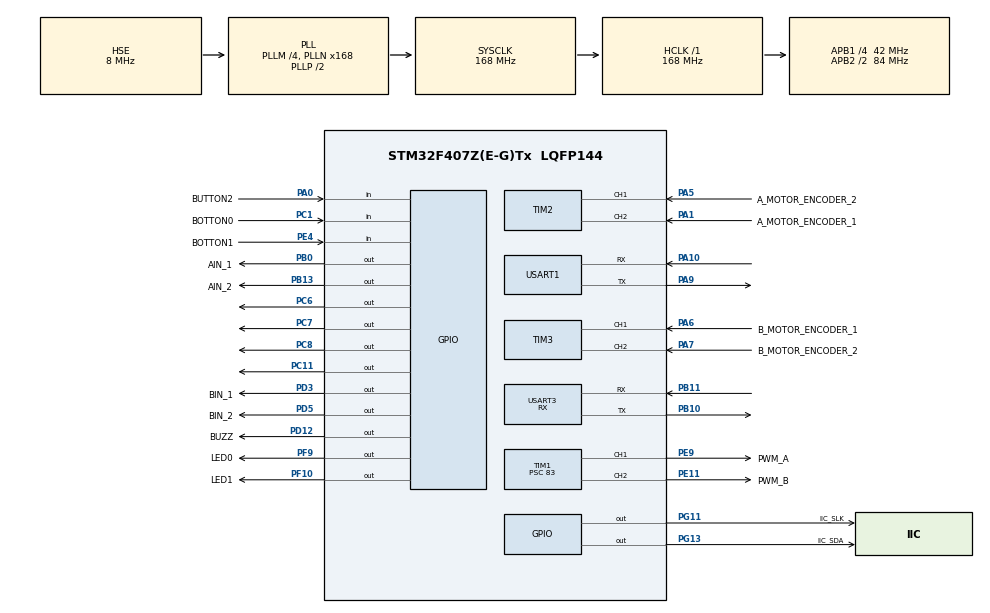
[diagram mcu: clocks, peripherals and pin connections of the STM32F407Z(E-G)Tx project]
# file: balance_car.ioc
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Dma.Request0=USART1_RX
Dma.Request1=USART1_TX
Dma.USART1_RX.0.Direction=DMA_PERIPH_TO_MEMORY
Dma.USART1_RX.0.FIFOMode=DMA_FIFOMODE_DISABLE
Dma.USART1_RX.0.Instance=DMA2_Stream2
Dma.USART1_RX.0.MemDataAlignment=DMA_MDATAALIGN_BYTE
Dma.USART1_RX.0.MemInc=DMA_MINC_ENABLE
Dma.USART1_RX.0.Mode=DMA_NORMAL
Dma.USART1_RX.0.PeriphDataAlignment=DMA_PDATAALIGN_BYTE
Dma.USART1_RX.0.PeriphInc=DMA_PINC_DISABLE
Dma.USART1_RX.0.Priority=DMA_PRIORITY_VERY_HIGH
Dma.USART1_TX.1.Direction=DMA_MEMORY_TO_PERIPH
Dma.USART1_TX.1.FIFOMode=DMA_FIFOMODE_DISABLE
Dma.USART1_TX.1.Instance=DMA2_Stream7
Dma.USART1_TX.1.MemDataAlignment=DMA_MDATAALIGN_BYTE
Dma.USART1_TX.1.MemInc=DMA_MINC_ENABLE
Dma.USART1_TX.1.Mode=DMA_NORMAL
Dma.USART1_TX.1.PeriphDataAlignment=DMA_PDATAALIGN_BYTE
Dma.USART1_TX.1.PeriphInc=DMA_PINC_DISABLE
Dma.USART1_TX.1.Priority=DMA_PRIORITY_HIGH
Mcu.Family=STM32F4
Mcu.Name=STM32F407Z(E-G)Tx
Mcu.Package=LQFP144
NVIC.DMA2_Stream2_IRQn=true\:0\:0\:false\:false\:true\:false\:true\:true
NVIC.DMA2_Stream7_IRQn=true\:0\:0\:false\:false\:true\:false\:true\:true
NVIC.PriorityGroup=NVIC_PRIORITYGROUP_4
NVIC.TIM5_IRQn=true\:0\:0\:false\:false\:true\:true\:true\:true
NVIC.USART1_IRQn=true\:0\:0\:false\:false\:true\:true\:true\:true
NVIC.USART3_IRQn=true\:0\:0\:false\:false\:true\:true\:true\:true
PA0-WKUP.GPIO_Label=BUTTON2
PA0-WKUP.GPIO_PuPd=GPIO_PULLUP
PA0-WKUP.Signal=GPIO_Input
PA1.GPIO_Label=A_MOTOR_ENCODER_1
PA1.GPIO_Speed=GPIO_SPEED_FREQ_HIGH
PA1.Signal=S_TIM2_CH2
PA10.Mode=Asynchronous
PA10.Signal=USART1_RX
PA13.Mode=Serial_Wire
PA13.Signal=SYS_JTMS-SWDIO
PA14.Mode=Serial_Wire
PA14.Signal=SYS_JTCK-SWCLK
PA5.GPIO_Label=A_MOTOR_ENCODER_2
PA5.GPIO_Speed=GPIO_SPEED_FREQ_HIGH
PA5.Signal=S_TIM2_CH1_ETR
PA6.GPIO_Label=B_MOTOR_ENCODER_1
PA6.GPIO_Speed=GPIO_SPEED_FREQ_HIGH
PA6.Signal=S_TIM3_CH1
PA7.GPIO_Label=B_MOTOR_ENCODER_2
PA7.GPIO_Speed=GPIO_SPEED_FREQ_HIGH
PA7.Signal=S_TIM3_CH2
PA9.Mode=Asynchronous
PA9.Signal=USART1_TX
PB0.GPIO_Label=AIN_1
PB0.GPIO_Speed=GPIO_SPEED_FREQ_HIGH
PB0.Signal=GPIO_Output
PB10.Mode=Asynchronous
PB10.Signal=USART3_TX
PB11.Mode=Asynchronous
PB11.Signal=USART3_RX
PB13.GPIO_Label=AIN_2
PB13.Signal=GPIO_Output
PC1.GPIO_Label=BOTTON0
PC1.GPIO_PuPd=GPIO_PULLUP
PC1.Signal=GPIO_Input
PC11.Signal=GPIO_Output
PC6.Signal=GPIO_Output
PC7.Signal=GPIO_Output
PC8.Signal=GPIO_Output
PD12.GPIO_Label=BUZZ
PD12.GPIO_Speed=GPIO_SPEED_FREQ_HIGH
PD12.Signal=GPIO_Output
PD3.GPIO_Label=BIN_1
PD3.GPIO_Speed=GPIO_SPEED_FREQ_HIGH
PD3.Signal=GPIO_Output
PD5.GPIO_Label=BIN_2
PD5.GPIO_Speed=GPIO_SPEED_FREQ_HIGH
PD5.Signal=GPIO_Output
PE11.GPIO_Label=PWM_B
PE11.GPIO_Speed=GPIO_SPEED_FREQ_HIGH
PE11.Signal=S_TIM1_CH2
PE4.GPIO_Label=BOTTON1
PE4.GPIO_PuPd=GPIO_PULLUP
PE4.Signal=GPIO_Input
PE9.GPIO_Label=PWM_A
PE9.GPIO_Speed=GPIO_SPEED_FREQ_HIGH
PE9.Signal=S_TIM1_CH1
PF10.GPIO_Label=LED1
PF10.GPIO_Speed=GPIO_SPEED_FREQ_HIGH
PF10.PinState=GPIO_PIN_SET
PF10.Signal=GPIO_Output
PF9.GPIO_Label=LED0
PF9.GPIO_Speed=GPIO_SPEED_FREQ_HIGH
PF9.PinState=GPIO_PIN_SET
PF9.Signal=GPIO_Output
PG11.GPIO_Label=IIC_SLK
PG11.GPIO_ModeDefaultOutputPP=GPIO_MODE_OUTPUT_OD
PG11.GPIO_PuPd=GPIO_NOPULL
PG11.GPIO_Speed=GPIO_SPEED_FREQ_HIGH
PG11.PinState=GPIO_PIN_SET
PG11.Signal=GPIO_Output
PG13.GPIO_Label=IIC_SDA
PG13.GPIO_ModeDefaultOutputPP=GPIO_MODE_OUTPUT_OD
PG13.GPIO_PuPd=GPIO_NOPULL
PG13.GPIO_Speed=GPIO_SPEED_FREQ_HIGH
PG13.PinState=GPIO_PIN_SET
PG13.Signal=GPIO_Output
PH0-OSC_IN.Mode=HSE-External-Oscillator
PH0-OSC_IN.Signal=RCC_OSC_IN
PH1-OSC_OUT.Mode=HSE-External-Oscillator
PH1-OSC_OUT.Signal=RCC_OSC_OUT
ProjectManager.HeapSize=0x200
ProjectManager.StackSize=0x400
ProjectManager.TargetToolchain=CMake
RCC.48MHZClocksFreq_Value=84000000
RCC.AHBFreq_Value=168000000
RCC.APB1CLKDivider=RCC_HCLK_DIV4
RCC.APB1Freq_Value=42000000
RCC.APB1TimFreq_Value=84000000
RCC.APB2CLKDivider=RCC_HCLK_DIV2
RCC.APB2Freq_Value=84000000
RCC.APB2TimFreq_Value=168000000
RCC.CortexFreq_Value=168000000
RCC.HCLKFreq_Value=168000000
RCC.HSE_VALUE=8000000
RCC.HSI_VALUE=16000000
RCC.LSE_VALUE=32768
RCC.PLLM=4
RCC.PLLN=168
RCC.PLLSourceVirtual=RCC_PLLSOURCE_HSE
RCC.SYSCLKFreq_VALUE=168000000
RCC.SYSCLKSource=RCC_SYSCLKSOURCE_PLLCLK
RCC.VCOOutputFreq_Value=336000000
SH.S_TIM1_CH1.0=TIM1_CH1,PWM Generation1 CH1
SH.S_TIM1_CH2.0=TIM1_CH2,PWM Generation2 CH2
SH.S_TIM2_CH1_ETR.0=TIM2_CH1,Encoder_Interface
SH.S_TIM2_CH2.0=TIM2_CH2,Encoder_Interface
SH.S_TIM3_CH1.0=TIM3_CH1,Encoder_Interface
SH.S_TIM3_CH2.0=TIM3_CH2,Encoder_Interface
STMicroelectronics.X-CUBE-ALGOBUILD.1.4.0.LibraryCcDSPOoLibraryJjDSPOoLibrary=true
TIM1.AutoReloadPreload=TIM_AUTORELOAD_PRELOAD_ENABLE
TIM1.Channel-PWM\ Generation1\ CH1=TIM_CHANNEL_1
TIM1.Channel-PWM\ Generation2\ CH2=TIM_CHANNEL_2
TIM1.OCFastMode_PWM-PWM\ Generation1\ CH1=TIM_OCFAST_ENABLE
TIM1.OCFastMode_PWM-PWM\ Generation2\ CH2=TIM_OCFAST_ENABLE
TIM1.Period=99
TIM1.Prescaler=83
TIM2.EncoderMode=TIM_ENCODERMODE_TI12
TIM3.EncoderMode=TIM_ENCODERMODE_TI12
TIM3.IC1Filter=6
TIM3.IC2Filter=6
TIM5.AutoReloadPreload=TIM_AUTORELOAD_PRELOAD_ENABLE
TIM5.Period=1000-1
TIM5.Prescaler=8400-1
USART1.VirtualMode=VM_ASYNC
USART3.Mode=MODE_RX
USART3.VirtualMode=VM_ASYNC
VP_STMicroelectronics.X-CUBE-ALGOBUILD_VS_DSPOoLibraryJjLibrary_1.4.0_1.4.0.Mode=DSPOoLibraryJjLibrary
VP_TIM1_VS_ClockSourceINT.Mode=Internal
VP_TIM5_VS_ClockSourceINT.Mode=Internal
board=custom

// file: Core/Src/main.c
/* USER CODE BEGIN Header */
/**
  ******************************************************************************
  * @file           : main.c
  * @brief          : Main program body
  ******************************************************************************
  * @attention
  *
  * Copyright (c) 2026 STMicroelectronics.
  * All rights reserved.
  *
  * This software is licensed under terms that can be found in the LICENSE file
  * in the root directory of this software component.
  * If no LICENSE file comes with this software, it is provided AS-IS.
  *
  ******************************************************************************
  */
/* USER CODE END Header */
#include "main.h"
#include "dma.h"
#include "tim.h"
#include "usart.h"
#include "gpio.h"

/* USER CODE BEGIN Includes */
#include "Encoder.h"
#include "LED.h"
#include "MPU6050.h"
#include "Motor.h"
#include "bsp_dwt.h"
#include "math.h"
#include "PID.h"
#include "key.h"
#include "ChassisCtrl.h"
#include "grayscale_tracker.h"
/* USER CODE END Includes */

/* USER CODE BEGIN PV */
const float encoder_to_speed = 0.012987012987f;
const float Alpha = 0.01f; //融合滤波系数
const float Gyro_to_real_degree = 0.06103515625f;
const float Degree_to_rad = 0.017453292f;
const float Rad_to_deg = 57.2957795f;
const float speed_filter = 0.99f;
uint8_t tim_flag = 0;
int16_t gray_offset = 0;
uint8_t gray_digital = 0;
uint8_t outline_move_strategy_flag = 0; //0:过十字 1:直行
int u_dd = 0; //记录接收字节数，测试用
/**
 * 1 => A 到 B；经过两间断点
 *
 * 2 => A 到 B 到 C; 三个间断点 （strait
 *
 * 2 => A 到 C到 B; 三个间断点 (cross
 *
 * 3 => 跑四圈 经过16个间断点
 */
uint8_t choose_topic = 0;
uint8_t button_count = 0;
uint8_t last_digital_flag = 1;
uint8_t digital_flag = 1;
uint8_t key_scan_count = 0;
uint8_t SpeedCount = 0;
uint8_t AngleCount = 0;
uint8_t BuzzCount = 0;
uint8_t LEDCount = 0;
/* USER CODE END PV */

void SystemClock_Config(void);
/* USER CODE BEGIN PFP */
extern void ring_on();

extern void ring_off();

/* USER CODE END PFP */

/* USER CODE BEGIN 0 */

/*所有用到的参数*/
int16_t AX, AY, AZ, GX, GY, GZ;
uint8_t TimerErrorFlag;
uint16_t TimerCount;

float AngleAcc;
float AngleGyro;
float Angle;

float GY_Bios;
float Yaw;

uint8_t KeyNum, RunFlag = 0;

int16_t LeftPWM, RightPWM;
int16_t AvePWM, DifPWM;

float LeftSpeed, RightSpeed;
float AveSpeed, DifSpeed;
/******灰度循迹全局变量*******/
uint8_t rx_byte;
GRAY_HandleTypeDef hgray;
GRAY_Data data;

PID_t AnglePID = {
  .Kp = 5,
  .Ki = 0.1,
  .Kd = 5,

  .OutMax = 100,
  .OutMin = -100,

  .OutOffset = 3,

  .ErrorIntMax = 600,
  .ErrorIntMin = -600,
};

PID_t SpeedPID = {
  .Kp = 1.75f,
  .Ki = 0.1f,
  .Kd = 0,

  .OutMax = 15,
  .OutMin = -15,

  .ErrorIntMax = 150,
  .ErrorIntMin = -150,
};

PID_t TurnPID = {
  .Kp = 4,
  .Ki = 3,
  .Kd = 0,

  .OutMax = 50,
  .OutMin = -50,

  .ErrorIntMax = 20,
  .ErrorIntMin = -20,
};

/* USER CODE END 0 */

int main(void)
{

  /* MCU Configuration--------------------------------------------------------*/

  /* Reset of all peripherals, Initializes the Flash interface and the Systick. */
  HAL_Init();

  /* Configure the system clock */
  SystemClock_Config();

  /* Initialize all configured peripherals */
  MX_GPIO_Init();
  MX_DMA_Init();
  MX_TIM1_Init();
  MX_TIM2_Init();
  MX_TIM3_Init();
  MX_USART1_UART_Init();
  MX_USART3_UART_Init();
  MX_TIM5_Init();
  /* USER CODE BEGIN 2 */
  BSP_DWT_Init();
  //gray_sensor_init();
  GRAY_Init(&hgray);
  //HAL_UARTEx_ReceiveToIdle_DMA(&huart3, &rx_byte, 1);
  HAL_UART_Receive_IT(&huart3, &rx_byte, 1);
  Encoder_Init();
  MPU6050_Init();
  DWT_Delay_ms(500);
  Motor_Init();

  //  gray_sensor_init();
  //Serial_receive_init();
  /* USER CODE END 2 */

  /* Infinite loop */
  /* USER CODE BEGIN WHILE */

  PID_Init(&AnglePID);
  PID_Init(&SpeedPID);
  PID_Init(&TurnPID);

  HAL_TIM_Base_Start_IT(&htim5);
  while (1) {
    MPU6050_GetData(&AX, &AY, &AZ, &GX, &GY, &GZ);

    /* USER CODE END WHILE */

  }
}

void SystemClock_Config(void)
{
  RCC_OscInitTypeDef RCC_OscInitStruct = {0};
  RCC_ClkInitTypeDef RCC_ClkInitStruct = {0};

  /** Configure the main internal regulator output voltage
  */
  __HAL_RCC_PWR_CLK_ENABLE();
  __HAL_PWR_VOLTAGESCALING_CONFIG(PWR_REGULATOR_VOLTAGE_SCALE1);

  /** Initializes the RCC Oscillators according to the specified parameters
  * in the RCC_OscInitTypeDef structure.
  */
  RCC_OscInitStruct.OscillatorType = RCC_OSCILLATORTYPE_HSE;
  RCC_OscInitStruct.HSEState = RCC_HSE_ON;
  RCC_OscInitStruct.PLL.PLLState = RCC_PLL_ON;
  RCC_OscInitStruct.PLL.PLLSource = RCC_PLLSOURCE_HSE;
  RCC_OscInitStruct.PLL.PLLM = 4;
  RCC_OscInitStruct.PLL.PLLN = 168;
  RCC_OscInitStruct.PLL.PLLP = RCC_PLLP_DIV2;
  RCC_OscInitStruct.PLL.PLLQ = 4;
  if (HAL_RCC_OscConfig(&RCC_OscInitStruct) != HAL_OK)
  {
    Error_Handler();
  }

  /** Initializes the CPU, AHB and APB buses clocks
  */
  RCC_ClkInitStruct.ClockType = RCC_CLOCKTYPE_HCLK|RCC_CLOCKTYPE_SYSCLK
                              |RCC_CLOCKTYPE_PCLK1|RCC_CLOCKTYPE_PCLK2;
  RCC_ClkInitStruct.SYSCLKSource = RCC_SYSCLKSOURCE_PLLCLK;
  RCC_ClkInitStruct.AHBCLKDivider = RCC_SYSCLK_DIV1;
  RCC_ClkInitStruct.APB1CLKDivider = RCC_HCLK_DIV4;
  RCC_ClkInitStruct.APB2CLKDivider = RCC_HCLK_DIV2;

  if (HAL_RCC_ClockConfig(&RCC_ClkInitStruct, FLASH_LATENCY_5) != HAL_OK)
  {
    Error_Handler();
  }
}

/* USER CODE BEGIN 4 */
void HAL_TIM_PeriodElapsedCallback(TIM_HandleTypeDef *htim) {
  //定时器中断(10ms执行一次)过快会堵塞程序

  if (htim->Instance == TIM5) {
    HAL_TIM_Base_Stop_IT(htim);
    key_scan();
    if (GRAY_IsDataReady(&hgray)) {
      data = GRAY_GetData(&hgray);
    }
    /*******************处理按键操作***********************/
    key_scan_count++;
    if (key_scan_count >= 100) {
      KeyNum = key_get_num();
      key_scan_count = 0;
      if (KeyNum == 1) {
        button_count++;
        button_count = button_count > 4 ? 0 : button_count;
        switch (button_count) {
          case 1:
            choose_topic = 1; //经过两个间断点
            outline_move_strategy_flag = 1;
            break;
          case 2:
            choose_topic = 2; //经过三个间断点
            outline_move_strategy_flag = 1; //straight
            break;
          case 3:
            choose_topic = 2; //经过三个间断点
            outline_move_strategy_flag = 0; //cross
            break;
          case 4:
            choose_topic = 3; //经过16个间断点
            outline_move_strategy_flag = 0; //cross
            break;
          default:
            choose_topic = 0; //状态清零
            outline_move_strategy_flag = 1; //straight
        }
      }
    }
    /*********************蜂鸣器逻辑*********************/
    BuzzCount++;
    if (BuzzCount >=100) {
      BuzzCount = 0;
      static uint8_t ring_count = 0;
      if (data.digital != 0x00) {
        digital_flag = 1;
      } else {
        digital_flag = 0;
      }
      if (digital_flag != last_digital_flag) {
        ring_on();
        ring_count = 11;
        last_digital_flag = digital_flag;
      }
      if (ring_count > 0) ring_count--;
      if (ring_count == 0) {
        ring_off();
      }
    }
    /*******************指示灯逻辑***********************/
    LEDCount++;
    if (LEDCount >= 100) {
      LEDCount = 0;
      switch (button_count) {
        case 1:
          LED_OFF(0);
          LED_OFF(1);
          break;
        case 2:
          LED_OFF(0);
          LED_ON(1);
          break;
        case 3:
          LED_ON(0);
          LED_OFF(1);
          break;
        default:
          LED_ON(0);
          LED_ON(1);
      }
    }

    AngleCount++;
    if (AngleCount > 1) {
      AngleCount= 0;
      if (choose_topic) {
        // choose_topic为0时停止，其他值时根据选择的模式运动
        /*******************巡线逻辑封装***************************/
        chassis_ctrl_update();
        /********************计算欧拉角***********************/
        //pitch计算
        GY -= 15;
        AngleAcc = -atan2(AX, AZ) / 3.14159f * 180.0f;
        AngleAcc -= 2.43f;
        AngleGyro = Angle + GY * Gyro_to_real_degree * 0.01;
        Angle = Alpha * AngleAcc + (1 - Alpha) * AngleGyro;
        //yaw计算
        if (GY < 8) {
          GY_Bios = 0.01f * GY * Gyro_to_real_degree * 0.01 + 0.99f * GY_Bios;
        }
        Yaw -= GY_Bios;
        Yaw = Yaw + GY * Gyro_to_real_degree * 0.01;
        /**********************电机控制**************************/
        AnglePID.Actual = Angle;
        PID_Update(&AnglePID);
        AvePWM = -AnglePID.Out;

        LeftPWM = AvePWM + DifPWM / 2;
        RightPWM = AvePWM - DifPWM / 2;

        if (LeftPWM > 100) {LeftPWM = 100;} else if (LeftPWM < -100) {LeftPWM = -100;}
        if (RightPWM > 100) {RightPWM = 100;} else if (RightPWM < -100) {RightPWM = -100;}

        Motor_SetPWM(1, LeftPWM);
        Motor_SetPWM(2, RightPWM);
      } else {
        Motor_SetPWM(1, 0);
        Motor_SetPWM(2, 0);
        LED_OFF(0);
        LED_OFF(1);
      }
    }
    /************************车身状态读取及速度环差速环控制**************************/
    SpeedCount++;
    if (SpeedCount >= 5) {
      SpeedCount = 0;
      LeftSpeed = Encoder_Get(1) / 44.0 / 0.05 / 9.27666;
      RightSpeed = Encoder_Get(2) / 44.0 / 0.05 / 9.27666;

      AveSpeed = (LeftSpeed + RightSpeed) / 2.0;
      DifSpeed = LeftSpeed - RightSpeed;

      SpeedPID.Actual = AveSpeed;
      PID_Update(&SpeedPID);
      AnglePID.Target = SpeedPID.Out;

      TurnPID.Actual = DifSpeed;
      PID_Update(&TurnPID);
      DifPWM = TurnPID.Out;
    }
    HAL_TIM_Base_Start_IT(htim);
  }
}

void HAL_UART_RxCpltCallback(UART_HandleTypeDef *huart) {
  if (huart == &huart3) {
    u_dd++;
    GRAY_ProcessByte(&hgray, rx_byte);
    HAL_UART_Receive_IT(&huart3, &rx_byte, 1);
  }
}

// }
// void HAL_UARTEx_RxEventCallback(UART_HandleTypeDef *huart, uint16_t Size)
// {
//   if(huart == &huart3&&Size == 1)
//   {
//     u_dd++;
//     GRAY_ProcessByte(&hgray, rx_byte);
//     HAL_UARTEx_ReceiveToIdle_DMA(&huart3, &rx_byte, 1);
//   }
// }
/* USER CODE END 4 */

void Error_Handler(void)
{
  __disable_irq();
  while (1) {
  }
}
